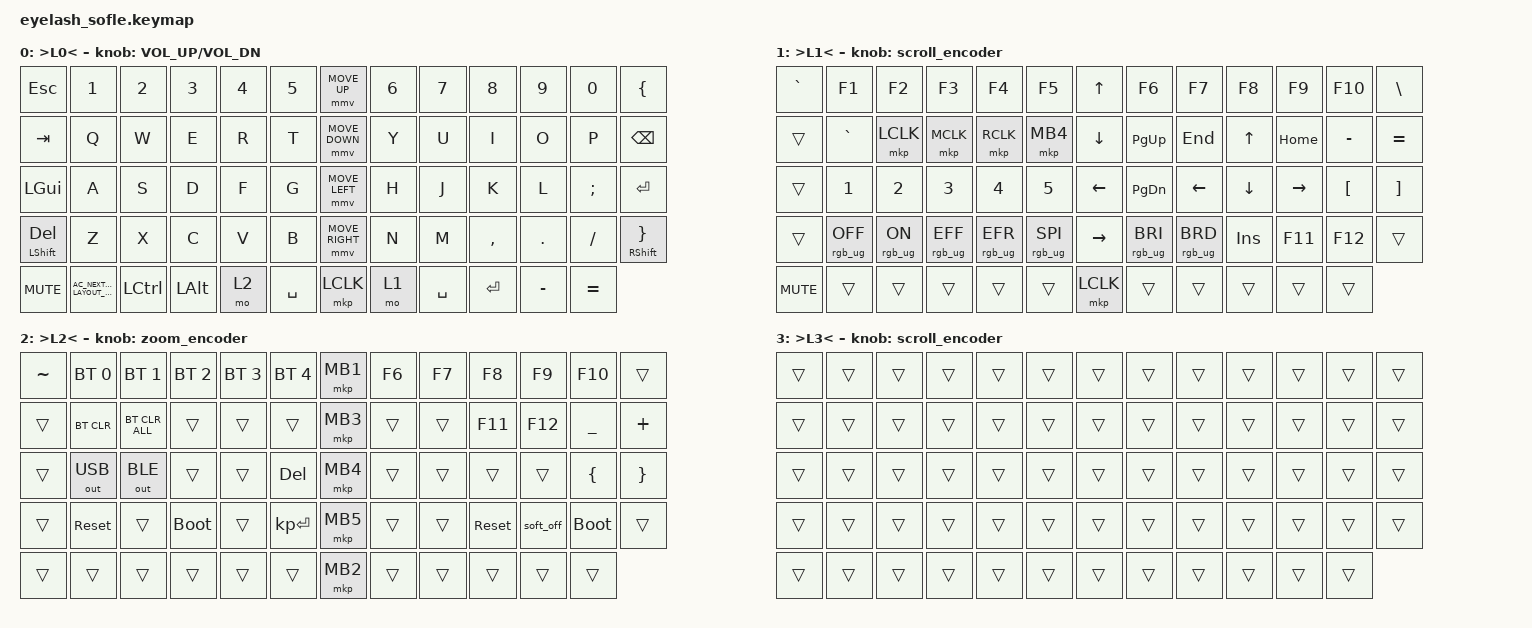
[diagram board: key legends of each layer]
#define ZMK_POINTING_DEFAULT_MOVE_VAL 1200  // 600
#define ZMK_POINTING_DEFAULT_SCRL_VAL 25    // 10

#include <input/processors.dtsi>
#include <zephyr/dt-bindings/input/input-event-codes.h>
#include <behaviors.dtsi>
#include <dt-bindings/zmk/bt.h>
#include <dt-bindings/zmk/keys.h>
#include <dt-bindings/zmk/outputs.h>
#include <dt-bindings/zmk/pointing.h>
#include <dt-bindings/zmk/rgb.h>

&mmv_input_listener { input-processors = <&zip_xy_scaler 2 1>; };

&msc_input_listener { input-processors = <&zip_scroll_scaler 2 1>; };

&msc {
    acceleration-exponent = <1>;      // 0
    time-to-max-speed-ms = <100>;       // 300
    delay-ms = <0>;                   // 0
};

&mmv {
    time-to-max-speed-ms = <500>;
    acceleration-exponent = <1>;
    trigger-period-ms = <16>;
};

&soft_off { hold-time-ms = <2000>; };

/ {
    scroll_encoder: scroll_encoder {
        compatible = "zmk,behavior-sensor-rotate";
        #sensor-binding-cells = <0>;
        bindings = <&msc SCRL_DOWN>, <&msc SCRL_UP>;

        tap-ms = <100>;
    };
    zoom_encoder: zoom_encoder {
        compatible = "zmk,behavior-sensor-rotate";
        #sensor-binding-cells = <0>;
        // 顺时针：Zoom In（⌘ + =）
        // 逆时针：Zoom Out（⌘ + -）
        bindings = <&zoom_in>, <&zoom_out>;
        tap-ms = <80>;
    };

    behaviors {
    };

    combos {
        compatible = "zmk,combos";

        softoff {
            bindings = <&soft_off>;
            key-positions = <14 28 40>;
        };
    };

    macros {
        SHIFT_MCLK: SHIFT_MCLK {
            compatible = "zmk,behavior-macro";
            #binding-cells = <0>;
            bindings =
                <&macro_press>,
                <&kp LEFT_SHIFT>,
                <&macro_press>,
                <&mkp MB3>,
                <&macro_pause_for_release>,
                <&macro_release>,
                <&kp LEFT_SHIFT &mkp MB3>;

            label = "SHIFT_MCLK";
        };
        zoom_in: zoom_in {
            compatible = "zmk,behavior-macro";
            label = "ZOOM_IN";
            #binding-cells = <0>;
            bindings =
                <&macro_press &kp LGUI>,
                <&macro_tap &kp EQUAL>,
                <&macro_release &kp LGUI>;
        };

        zoom_out: zoom_out {
            compatible = "zmk,behavior-macro";
            label = "ZOOM_OUT";
            #binding-cells = <0>;
            bindings =
                <&macro_press &kp LGUI>,
                <&macro_tap &kp MINUS>,
                <&macro_release &kp LGUI>;
        };
    };

    keymap {
        compatible = "zmk,keymap";

        layer_0 {
            bindings = <
&kp ESC           &kp N1                                &kp N2            &kp N3        &kp N4  &kp N5       &mmv MOVE_UP     &kp N6  &kp N7     &kp N8     &kp N9     &kp N0     &kp LEFT_BRACE
&kp TAB           &kp Q                                 &kp W             &kp E         &kp R   &kp T        &mmv MOVE_DOWN   &kp Y   &kp U      &kp I      &kp O      &kp P      &kp BACKSPACE
&kp LGUI          &kp A                                 &kp S             &kp D         &kp F   &kp G        &mmv MOVE_LEFT   &kp H   &kp J      &kp K      &kp L      &kp SEMI   &kp RET
&mt LSHFT DELETE  &kp Z                                 &kp X             &kp C         &kp V   &kp B        &mmv MOVE_RIGHT  &kp N   &kp M      &kp COMMA  &kp DOT    &kp FSLH   &mt RIGHT_SHIFT RIGHT_BRACE
&kp C_MUTE        &kp C_AC_NEXT_KEYBOARD_LAYOUT_SELECT  &kp LEFT_CONTROL  &kp LEFT_ALT  &mo 2   &kp SPACE    &mkp LCLK        &mo 1   &kp SPACE  &kp RET    &kp MINUS  &kp EQUAL
            >;

            sensor-bindings = <&inc_dec_kp C_VOLUME_UP C_VOL_DN>;
            display-name = ">L0<";
        };

        layer_1 {
            bindings = <
&kp GRAVE   &kp F1           &kp F2          &kp F3           &kp F4           &kp F5             &kp UP_ARROW     &kp F6           &kp F7           &kp F8      &kp F9     &kp F10           &kp BACKSLASH
&trans      &kp GRAVE        &mkp LCLK       &mkp MCLK        &mkp RCLK        &mkp MB4           &kp DOWN_ARROW   &kp PG_UP        &kp END          &kp UP      &kp HOME   &kp MINUS         &kp EQUAL
&trans      &kp N1           &kp N2          &kp N3           &kp N4           &kp N5             &kp LEFT_ARROW   &kp PG_DN        &kp LEFT         &kp DOWN    &kp RIGHT  &kp LEFT_BRACKET  &kp RIGHT_BRACKET
&trans      &rgb_ug RGB_OFF  &rgb_ug RGB_ON  &rgb_ug RGB_EFF  &rgb_ug RGB_EFR  &rgb_ug RGB_SPI    &kp RIGHT_ARROW  &rgb_ug RGB_BRI  &rgb_ug RGB_BRD  &kp INSERT  &kp F11    &kp F12           &trans
&kp C_MUTE  &trans           &trans          &trans           &trans           &trans             &mkp LCLK        &trans           &trans           &trans      &trans     &trans
            >;

            display-name = ">L1<";
            sensor-bindings = <&scroll_encoder>;
        };

        layer_2 {
            bindings = <
&kp TILDE  &bt BT_SEL 0  &bt BT_SEL 1    &bt BT_SEL 2  &bt BT_SEL 3  &bt BT_SEL 4    &mkp MB1  &kp F6  &kp F7  &kp F8      &kp F9     &kp F10      &trans
&trans     &bt BT_CLR    &bt BT_CLR_ALL  &trans        &trans        &trans          &mkp MB3  &trans  &trans  &kp F11     &kp F12    &kp UNDER    &kp PLUS
&trans     &out OUT_USB  &out OUT_BLE    &trans        &trans        &kp DELETE      &mkp MB4  &trans  &trans  &trans      &trans     &kp LBRC     &kp RBRC
&trans     &sys_reset    &trans          &bootloader   &trans        &kp KP_ENTER    &mkp MB5  &trans  &trans  &sys_reset  &soft_off  &bootloader  &trans
&trans     &trans        &trans          &trans        &trans        &trans          &mkp MB2  &trans  &trans  &trans      &trans     &trans
            >;

            display-name = ">L2<";
            sensor-bindings = <&zoom_encoder>;
        };

        layer_3 {
            bindings = <
&trans  &trans  &trans  &trans  &trans  &trans    &trans  &trans  &trans  &trans  &trans  &trans  &trans
&trans  &trans  &trans  &trans  &trans  &trans    &trans  &trans  &trans  &trans  &trans  &trans  &trans
&trans  &trans  &trans  &trans  &trans  &trans    &trans  &trans  &trans  &trans  &trans  &trans  &trans
&trans  &trans  &trans  &trans  &trans  &trans    &trans  &trans  &trans  &trans  &trans  &trans  &trans
&trans  &trans  &trans  &trans  &trans  &trans    &trans  &trans  &trans  &trans  &trans  &trans
            >;

            display-name = ">L3<";
            sensor-bindings = <&scroll_encoder>;
        };
    };
};
